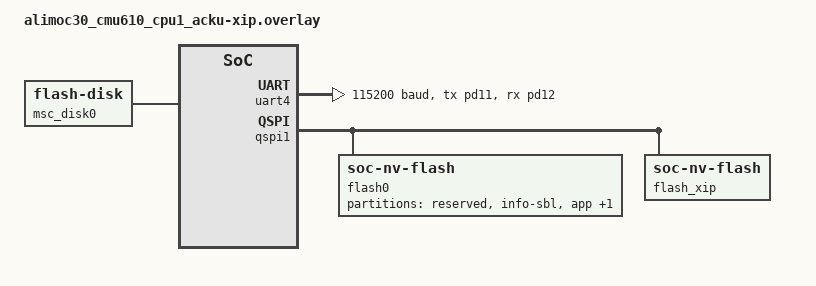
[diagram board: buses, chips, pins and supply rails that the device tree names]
/*
 * Copyright (c) 2024, Alibaba
 * SPDX-License-Identifier: Apache-2.0
 */

#include "alicmu_pinctrl_acku.dtsi"

/ {
    chosen {
        zephyr,sram = &sram1;
        zephyr,console = &uart4;
        zephyr,shell-uart = &uart4;
        zephyr,flash = &flash_xip;
        zephyr,flash-controller = &qspi1;
        share,flash = &flash0;
    };

	msc_disk0 {
		status="okay";
		compatible = "zephyr,flash-disk";
		partition = <&storage_partition>;
		disk-name = "SD2";
		/* cache-size == page erase size */
		cache-size = <4096>;
	};
};

&uart1 {
    current-speed = <115200>;
    status = "disabled";
};

&uart2 {
    current-speed = <115200>;
    status = "disabled";
};

&uart3 {
    current-speed = <115200>;
    status = "disabled";
};

&uart4 {
    status = "okay";
    current-speed = <115200>;
    pinctrl-0 = <&uart4_tx_pd11 &uart4_rx_pd12>;
    pinctrl-names = "default";
};

&uart5 {
    status = "disabled";
};

&qspi1 {
    compatible = "linkedsemi,mbox-cpu1-flash-controller";
    mbox = <&mbox_consumer2>;
    status = "okay";

    flash0: flash@8000000 {
        compatible = "soc-nv-flash";
        reg = <0x8000000 DT_SIZE_M(16)>;
        erase-block-size = <4096>;
        write-block-size = <4>;

        partitions {
            compatible = "fixed-partitions";
            #address-cells = <1>;
            #size-cells = <1>;

            reserved_partition: partition@0 {
                label = "reserved";
                reg = <0x0 DT_SIZE_M(8)>;
            };
            boot_partition: partition@800000 {
                label = "info-sbl";
                reg = <0x800000 DT_SIZE_M(2)>;
            };
            app_partition: partition@a00000 {
                label = "app";
                reg = <0xa00000 DT_SIZE_M(2)>;
            };
            storage_partition: partition@c00000 {
                label = "storage";
                reg = <0xc00000 DT_SIZE_M(4)>;
            };
        };
    };

    flash_xip: flash@8800000 {
        compatible = "soc-nv-flash";
        reg = <0x8800000 DT_SIZE_M(8)>;
        erase-block-size = <4096>;
        write-block-size = <4>;
    };
};
